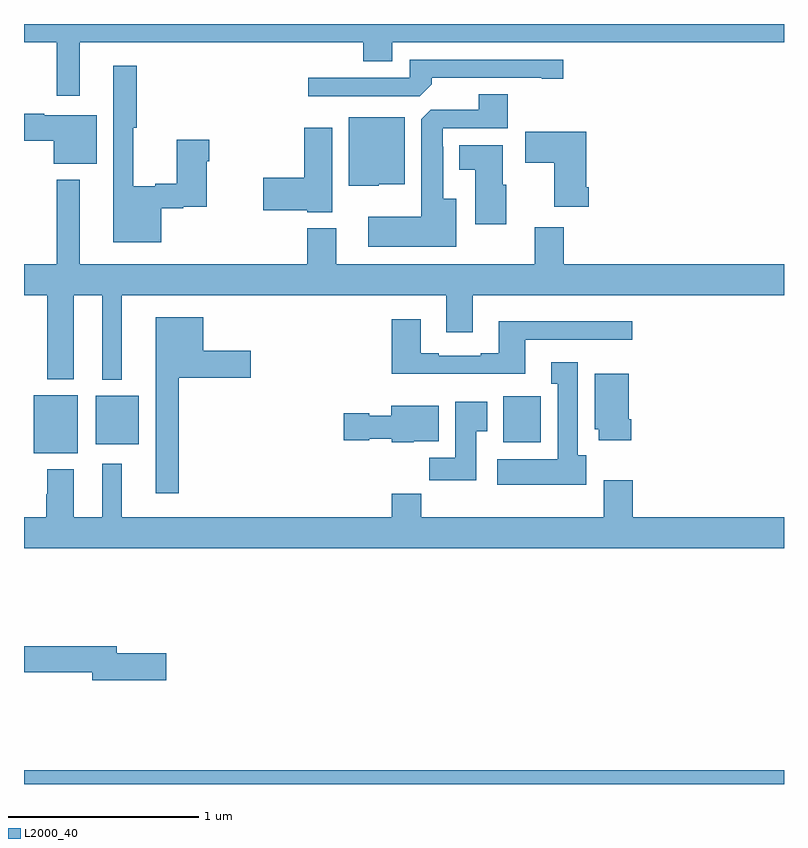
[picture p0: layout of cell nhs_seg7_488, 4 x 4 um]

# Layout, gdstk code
import gdstk
lib = gdstk.Library(unit=1e-6, precision=1e-09)
def R(c, l, rs):  # rectangles x0, y0, x1, y1
    for r in rs: c.add(gdstk.rectangle(r[:2], r[2:], *l))
def P(c, l, *ps):  # polygons
    for p in ps: c.add(gdstk.Polygon(p, *l))
L2000_40 = (2000, 40)

nhs_seg7_488 = lib.new_cell('nhs_seg7_488')
R(nhs_seg7_488, L2000_40, [(149,1042,153,1042.072), (149.051,1043.741,149.284,1044.046), (149.378,1043.789,149.605,1044.043), (151.523,1043.798,151.72,1044.04)])
P(nhs_seg7_488, L2000_40, [(149,1045.904),(149.172,1045.904),(149.172,1045.623),(149.293,1045.623),(149.293,1045.904),(150.785,1045.904),(150.785,1045.805),(150.937,1045.805),(150.937,1045.904),(153,1045.904),(153,1046),(149,1046)],
  [(151.145,1045.682),(151.145,1045.716),(151.724,1045.716),(151.724,1045.711),(151.837,1045.711),(151.837,1045.812),(151.029,1045.812),(151.029,1045.716),(150.495,1045.716),(150.495,1045.62),(151.083,1045.62)],
  [(149.722,1045.03),(149.838,1045.03),(149.838,1045.037),(149.962,1045.037),(149.962,1045.277),(149.975,1045.277),(149.975,1045.39),(149.804,1045.39),(149.804,1045.16),(149.69,1045.16),(149.69,1045.147),(149.575,1045.147),(149.575,1045.455),(149.593,1045.455),(149.593,1045.78),(149.471,1045.78),(149.471,1044.851),(149.722,1044.851)],
  [(151.276,1045.081),(151.207,1045.081),(151.207,1045.355),(151.203,1045.355),(151.203,1045.452),(151.547,1045.452),(151.547,1045.631),(151.394,1045.631),(151.394,1045.548),(151.14,1045.548),(151.091,1045.499),(151.091,1044.985),(150.813,1044.985),(150.813,1044.827),(151.276,1044.827)],
  [(149.383,1045.519),(149.107,1045.519),(149.107,1045.527),(149,1045.527),(149,1045.385),(149.156,1045.385),(149.156,1045.265),(149.383,1045.265)],
  [(150.867,1045.157),(151.003,1045.157),(151.003,1045.51),(150.71,1045.51),(150.71,1045.148),(150.867,1045.148)],
  [(150.622,1045.453),(150.476,1045.453),(150.476,1045.19),(150.258,1045.19),(150.258,1045.019),(150.492,1045.019),(150.492,1045.01),(150.622,1045.01)],
  [(151.973,1045.141),(151.96,1045.141),(151.96,1045.432),(151.638,1045.432),(151.638,1045.27),(151.79,1045.27),(151.79,1045.037),(151.973,1045.037)],
  [(151.537,1045.155),(151.519,1045.155),(151.519,1045.363),(151.292,1045.363),(151.292,1045.232),(151.376,1045.232),(151.376,1044.945),(151.537,1044.945)],
  [(149.515,1044.572),(151.223,1044.572),(151.223,1044.378),(151.363,1044.378),(151.363,1044.572),(153,1044.572),(153,1044.736),(151.841,1044.736),(151.841,1044.93),(151.688,1044.93),(151.688,1044.736),(150.643,1044.736),(150.643,1044.925),(150.491,1044.925),(150.491,1044.736),(149.293,1044.736),(149.293,1045.18),(149.172,1045.18),(149.172,1044.736),(149,1044.736),(149,1044.572),(149.123,1044.572),(149.123,1044.131),(149.263,1044.131),(149.263,1044.572),(149.411,1044.572),(149.411,1044.128),(149.515,1044.128)],
  [(149.815,1044.137),(150.193,1044.137),(150.193,1044.279),(149.944,1044.279),(149.944,1044.457),(149.693,1044.457),(149.693,1043.529),(149.815,1043.529)],
  [(151.639,1044.339),(152.2,1044.339),(152.2,1044.436),(151.499,1044.436),(151.499,1044.268),(151.403,1044.268),(151.403,1044.255),(151.183,1044.255),(151.183,1044.268),(151.087,1044.268),(151.087,1044.445),(150.935,1044.445),(150.935,1044.158),(151.639,1044.158)],
  [(151.96,1043.73),(151.915,1043.73),(151.915,1044.22),(151.775,1044.22),(151.775,1044.107),(151.808,1044.107),(151.808,1043.71),(151.491,1043.71),(151.491,1043.576),(151.96,1043.576)],
  [(152.195,1043.92),(152.182,1043.92),(152.182,1044.16),(152.003,1044.16),(152.003,1043.868),(152.024,1043.868),(152.024,1043.808),(152.195,1043.808)],
  [(151.381,1043.857),(151.438,1043.857),(151.438,1044.013),(151.271,1044.013),(151.271,1043.716),(151.132,1043.716),(151.132,1043.598),(151.381,1043.598)],
  [(151.05,1043.804),(151.183,1043.804),(151.183,1043.992),(150.932,1043.992),(150.932,1043.938),(150.816,1043.938),(150.816,1043.951),(150.684,1043.951),(150.684,1043.809),(150.816,1043.809),(150.816,1043.816),(150.936,1043.816),(150.936,1043.798),(151.05,1043.798)],
  [(153,1043.404),(152.204,1043.404),(152.204,1043.599),(152.051,1043.599),(152.051,1043.404),(151.091,1043.404),(151.091,1043.528),(150.935,1043.528),(150.935,1043.404),(149.515,1043.404),(149.515,1043.686),(149.411,1043.686),(149.411,1043.404),(149.263,1043.404),(149.263,1043.656),(149.123,1043.656),(149.123,1043.525),(149.116,1043.525),(149.116,1043.404),(149,1043.404),(149,1043.24),(153,1043.24)],
  [(149.749,1042.688),(149.488,1042.688),(149.488,1042.724),(149,1042.724),(149,1042.588),(149.36,1042.588),(149.36,1042.546),(149.749,1042.546)])

lib.write_gds('nhs_seg7_488.gds')
